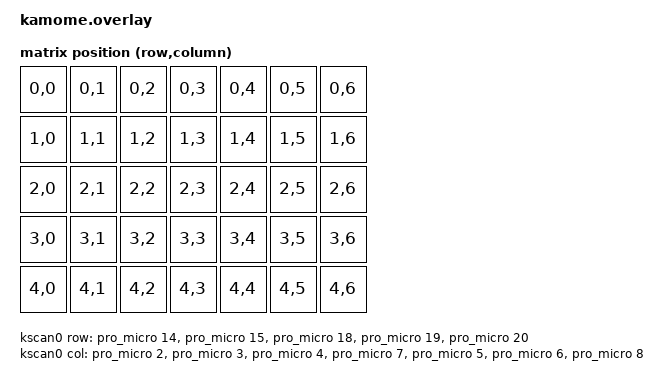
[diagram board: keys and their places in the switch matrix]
#include <dt-bindings/zmk/matrix-transform.h>

/ {
    chosen {
        zmk,kscan = &kscan0;
        zmk,matrix_transform = &default_transform;
    };

    default_transform: keymap_transform_0 {
        compatible = "zmk,matrix-transform";
        columns = <7>;
        rows = <5>;
        map =  <
            RC(0,0) RC(0,1) RC(0,2) RC(0,3) RC(0,4) RC(0,5) RC(0,6)
            RC(1,0) RC(1,1) RC(1,2) RC(1,3) RC(1,4) RC(1,5) RC(1,6)
            RC(2,0) RC(2,1) RC(2,2) RC(2,3) RC(2,4) RC(2,5) RC(2,6)
            RC(3,0) RC(3,1) RC(3,2) RC(3,3) RC(3,4) RC(3,5) RC(3,6)
            RC(4,0) RC(4,1) RC(4,2) RC(4,3) RC(4,4) RC(4,5) RC(4,6)
        >;
    };

    kscan0: kscan {
        compatible = "zmk,kscan-gpio-matrix";
        diode-direction = "col2row"; // Или "row2col" в зависимости от схемы диодов

        // Строки (rows)
        row-gpios =
            <&pro_micro 14 (GPIO_ACTIVE_HIGH | GPIO_PULL_DOWN)>,  // Row 4 (P0.15)
            <&pro_micro 15 (GPIO_ACTIVE_HIGH | GPIO_PULL_DOWN)>,  // Row 3 (P0.18)
            <&pro_micro 18 (GPIO_ACTIVE_HIGH | GPIO_PULL_DOWN)>,  // Row 2 (P0.19)
            <&pro_micro 19 (GPIO_ACTIVE_HIGH | GPIO_PULL_DOWN)>,  // Row 1 (P0.20)
            <&pro_micro 20 (GPIO_ACTIVE_HIGH | GPIO_PULL_DOWN)>;  // Row 0 (P0.21)

        // Столбцы (columns)
        col-gpios =
            <&pro_micro 2  GPIO_ACTIVE_HIGH>,  // Column 0 (P0.02)
            <&pro_micro 3  GPIO_ACTIVE_HIGH>,  // Column 1 (P0.07)
            <&pro_micro 4  GPIO_ACTIVE_HIGH>,  // Column 3 (P0.05)
            <&pro_micro 7  GPIO_ACTIVE_HIGH>,  // Column 4 (P0.04)
            <&pro_micro 5  GPIO_ACTIVE_HIGH>,  // Column 2 (P0.06)
            <&pro_micro 6  GPIO_ACTIVE_HIGH>,  // Column 5 (P0.03)
            <&pro_micro 8 GPIO_ACTIVE_HIGH>; // Column 6 (P0.29)
    };
};
